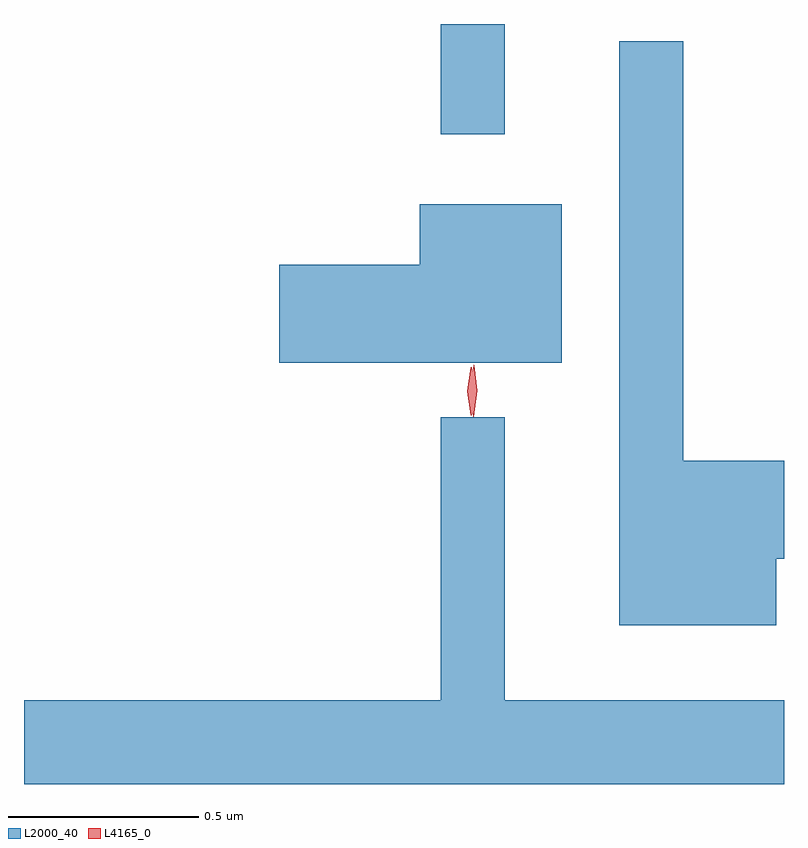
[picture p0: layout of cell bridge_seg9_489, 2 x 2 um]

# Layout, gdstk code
import gdstk
lib = gdstk.Library(unit=1e-6, precision=1e-09)
def R(c, l, rs):  # rectangles x0, y0, x1, y1
    for r in rs: c.add(gdstk.rectangle(r[:2], r[2:], *l))
def P(c, l, *ps):  # polygons
    for p in ps: c.add(gdstk.Polygon(p, *l))
L2000_40 = (2000, 40)
L4165_0 = (4165, 0)

bridge_seg9_489 = lib.new_cell('bridge_seg9_489')
R(bridge_seg9_489, L2000_40, [(651.951,1991.353,652.119,1991.643)])
P(bridge_seg9_489, L2000_40, [(652.834,1990.236),(652.854,1990.236),(652.854,1990.494),(652.589,1990.494),(652.589,1991.598),(652.421,1991.598),(652.421,1990.061),(652.834,1990.061)],
  [(652.269,1991.169),(651.896,1991.169),(651.896,1991.009),(651.526,1991.009),(651.526,1990.751),(652.269,1990.751)],
  [(652.854,1989.864),(652.119,1989.864),(652.119,1990.608),(651.951,1990.608),(651.951,1989.864),(650.854,1989.864),(650.854,1989.643),(652.854,1989.643)])
P(bridge_seg9_489, L4165_0, [(652.03,1990.613),(652.021,1990.676),(652.03,1990.74),(652.031,1990.74),(652.032,1990.74),(652.041,1990.676),(652.032,1990.613),(652.031,1990.613)],
  [(652.036,1990.61),(652.036,1990.61),(652.028,1990.678),(652.038,1990.745),(652.038,1990.746),(652.039,1990.745),(652.047,1990.678),(652.037,1990.61)])

lib.write_gds('bridge_seg9_489.gds')
